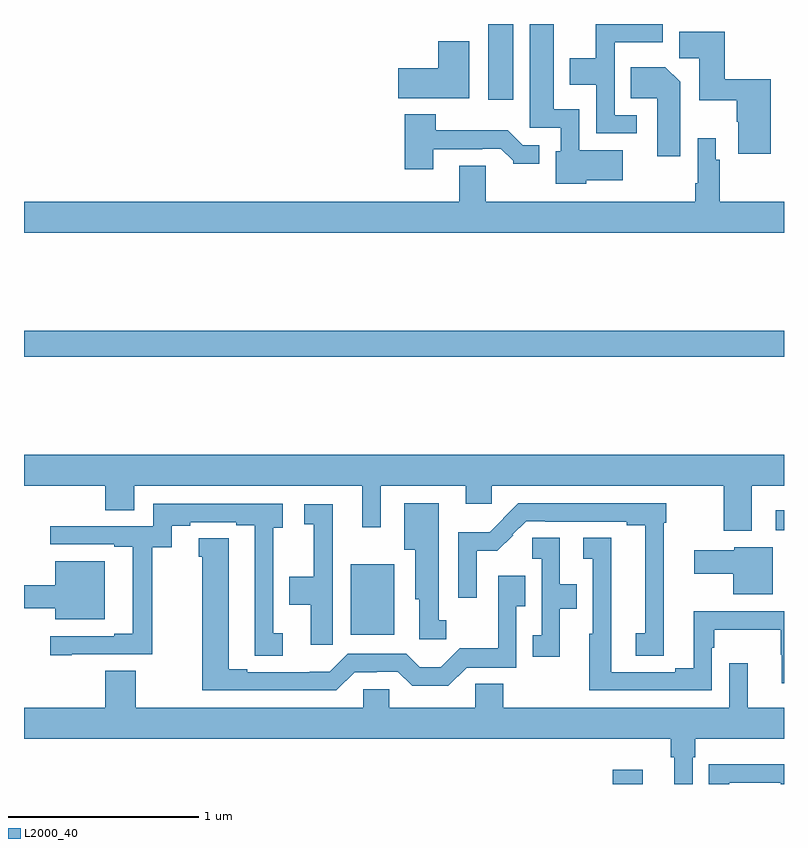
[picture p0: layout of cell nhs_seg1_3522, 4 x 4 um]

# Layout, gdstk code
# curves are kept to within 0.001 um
import gdstk
lib = gdstk.Library(unit=1e-6, precision=1e-09)
def R(c, l, rs):  # rectangles x0, y0, x1, y1
    for r in rs: c.add(gdstk.rectangle(r[:2], r[2:], *l))
def P(c, l, *ps):  # polygons
    for p in ps: c.add(gdstk.Polygon(p, *l))
L2000_40 = (2000, 40)

nhs_seg1_3522 = lib.new_cell('nhs_seg1_3522')
R(nhs_seg1_3522, L2000_40, [(306.098,514.199,306.256,514.273), (304.721,514.985,304.948,515.356), (306.957,515.535,307,515.641), (303,516.448,307,516.584), (305.444,517.8,305.575,518.199)])
P(nhs_seg1_3522, L2000_40, [(305.958,517.376),(306.151,517.376),(306.151,517.534),(305.922,517.534),(305.922,517.75),(305.788,517.75),(305.788,518.199),(305.663,518.199),(305.663,517.653),(305.826,517.653),(305.826,517.53),(305.798,517.53),(305.798,517.358),(305.958,517.358)],
  [(306.226,517.719),(306.108,517.719),(306.108,518.102),(306.361,518.102),(306.361,518.199),(306.01,518.199),(306.01,518.02),(305.873,518.02),(305.873,517.88),(306.012,517.88),(306.012,517.623),(306.226,517.623)],
  [(306.929,517.909),(306.689,517.909),(306.689,518.158),(306.449,518.158),(306.449,518.02),(306.554,518.02),(306.554,517.799),(306.751,517.799),(306.751,517.684),(306.758,517.684),(306.758,517.515),(306.929,517.515)],
  [(305.344,518.107),(305.18,518.107),(305.18,517.966),(304.971,517.966),(304.971,517.808),(305.344,517.808)],
  [(306.454,517.894),(306.376,517.972),(306.193,517.972),(306.193,517.808),(306.332,517.808),(306.332,517.503),(306.454,517.503)],
  [(305.155,517.539),(305.411,517.539),(305.411,517.542),(305.51,517.542),(305.574,517.478),(305.574,517.463),(305.713,517.463),(305.713,517.56),(305.625,517.56),(305.547,517.639),(305.168,517.639),(305.168,517.723),(305.003,517.723),(305.003,517.434),(305.155,517.434)],
  [(307,517.264),(306.662,517.264),(306.662,517.484),(306.642,517.484),(306.642,517.597),(306.546,517.597),(306.546,517.36),(306.534,517.36),(306.534,517.264),(305.431,517.264),(305.431,517.454),(305.291,517.454),(305.291,517.264),(303,517.264),(303,517.1),(307,517.1)],
  [(306.829,515.768),(307,515.768),(307,515.932),(303,515.932),(303,515.768),(303.428,515.768),(303.428,515.641),(303.58,515.641),(303.58,515.768),(304.781,515.768),(304.781,515.55),(304.878,515.55),(304.878,515.768),(305.324,515.768),(305.324,515.673),(305.463,515.673),(305.463,515.768),(306.682,515.768),(306.682,515.531),(306.829,515.531)],
  [(305.223,515.061),(305.182,515.061),(305.182,515.677),(305,515.677),(305,515.432),(305.06,515.432),(305.06,515.172),(305.081,515.172),(305.081,514.962),(305.223,514.962)],
  [(306.367,515.573),(306.379,515.573),(306.379,515.676),(305.6,515.676),(305.522,515.599),(305.525,515.597),(305.452,515.524),(305.286,515.524),(305.286,515.178),(305.382,515.178),(305.382,515.426),(305.491,515.426),(305.574,515.508),(305.571,515.511),(305.643,515.583),(305.743,515.583),(305.743,515.58),(306.173,515.58),(306.173,515.56),(306.269,515.56),(306.269,514.992),(306.219,514.992),(306.219,514.873),(306.367,514.873)],
  [(304.363,514.992),(304.311,514.992),(304.311,515.549),(304.363,515.549),(304.363,515.673),(303.681,515.673),(303.681,515.556),(303.138,515.556),(303.138,515.46),(303.476,515.46),(303.476,515.448),(303.572,515.448),(303.572,514.99),(303.476,514.99),(303.476,514.977),(303.138,514.977),(303.138,514.876),(303.25,514.876),(303.25,514.881),(303.674,514.881),(303.674,515.444),(303.778,515.444),(303.778,515.559),(303.874,515.559),(303.874,515.577),(304.118,515.577),(304.118,515.562),(304.214,515.562),(304.214,514.981),(304.215,514.981),(304.215,514.873),(304.363,514.873)],
  [(304.624,515.671),(304.476,515.671),(304.476,515.565),(304.526,515.565),(304.526,515.29),(304.396,515.29),(304.396,515.143),(304.508,515.143),(304.508,514.932),(304.624,514.932)],
  [(306.621,514.916),(306.634,514.916),(306.634,515.012),(306.982,515.012),(306.982,514.878),(306.989,514.878),(306.989,514.728),(307,514.728),(307,515.109),(306.524,515.109),(306.524,514.808),(306.428,514.808),(306.428,514.788),(306.09,514.788),(306.09,515.089),(306.092,515.089),(306.092,515.495),(305.943,515.495),(305.943,515.384),(305.994,515.384),(305.994,514.989),(305.975,514.989),(305.975,514.692),(306.621,514.692)],
  [(305.821,515.122),(305.909,515.122),(305.909,515.251),(305.82,515.251),(305.82,515.495),(305.675,515.495),(305.675,515.384),(305.724,515.384),(305.724,514.982),(305.677,514.982),(305.677,514.869),(305.821,514.869)],
  [(304.74,514.788),(304.856,514.788),(304.856,514.791),(304.968,514.791),(305.044,514.715),(305.234,514.715),(305.331,514.812),(305.592,514.812),(305.592,515.135),(305.639,515.135),(305.639,515.296),(305.496,515.296),(305.496,514.913),(305.294,514.913),(305.194,514.813),(305.084,514.813),(305.013,514.884),(304.704,514.884),(304.609,514.789),(304.174,514.788),(304.174,514.803),(304.078,514.803),(304.077,515.492),(303.92,515.492),(303.92,515.394),(303.938,515.394),(303.938,514.692),(304.644,514.692)],
  [(306.94,515.446),(306.738,515.446),(306.738,515.428),(306.528,515.428),(306.528,515.306),(306.734,515.306),(306.734,515.198),(306.94,515.198)],
  [(303.424,515.371),(303.164,515.371),(303.164,515.245),(303,515.245),(303,515.123),(303.164,515.123),(303.164,515.066),(303.424,515.066)],
  [(306.519,514.34),(306.533,514.34),(306.533,514.436),(307,514.436),(307,514.6),(306.809,514.6),(306.809,514.834),(306.711,514.834),(306.711,514.6),(305.523,514.6),(305.523,514.727),(305.376,514.727),(305.376,514.6),(304.923,514.6),(304.923,514.698),(304.785,514.698),(304.785,514.6),(303.588,514.6),(303.588,514.796),(303.428,514.796),(303.428,514.6),(303,514.6),(303,514.436),(306.403,514.436),(306.403,514.34),(306.422,514.34),(306.422,514.199),(306.519,514.199)],
  [(306.712,514.206),(306.984,514.206),(306.984,514.199),(307,514.199),(307,514.303),(306.712,514.303),(306.712,514.302),(306.604,514.302),(306.604,514.199),(306.712,514.199)])

lib.write_gds('nhs_seg1_3522.gds')
